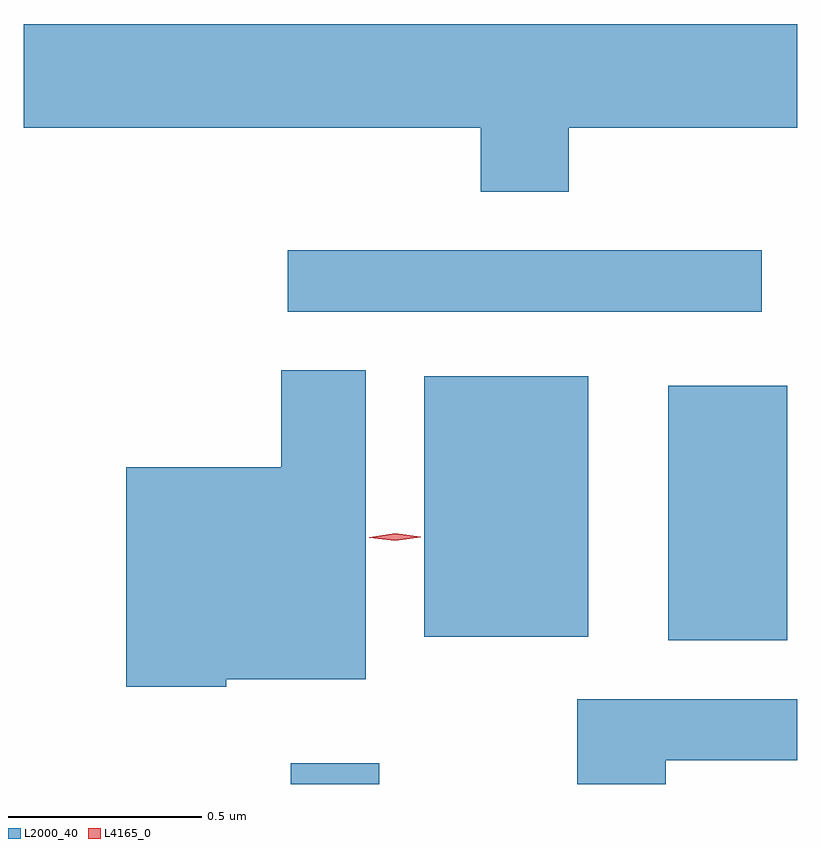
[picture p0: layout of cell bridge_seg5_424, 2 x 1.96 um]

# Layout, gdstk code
import gdstk
lib = gdstk.Library(unit=1e-6, precision=1e-09)
def R(c, l, rs):  # rectangles x0, y0, x1, y1
    for r in rs: c.add(gdstk.rectangle(r[:2], r[2:], *l))
def P(c, l, *ps):  # polygons
    for p in ps: c.add(gdstk.Polygon(p, *l))
L2000_40 = (2000, 40)
L4165_0 = (4165, 0)

bridge_seg5_424 = lib.new_cell('bridge_seg5_424')
R(bridge_seg5_424, L2000_40, [(466.921,1506.16,467.149,1506.214), (467.896,1506.531,468.204,1507.189), (467.266,1506.541,467.689,1507.214), (466.913,1507.381,468.138,1507.539)])
P(bridge_seg5_424, L2000_40, [(467.639,1507.856),(468.23,1507.856),(468.23,1508.124),(466.23,1508.124),(466.23,1507.856),(467.411,1507.856),(467.411,1507.691),(467.639,1507.691)],
  [(466.754,1506.431),(467.114,1506.431),(467.114,1507.229),(466.896,1507.229),(466.896,1506.979),(466.496,1506.979),(466.496,1506.411),(466.754,1506.411)],
  [(467.889,1506.221),(468.23,1506.221),(468.23,1506.379),(467.661,1506.379),(467.661,1506.16),(467.889,1506.16)])
P(bridge_seg5_424, L4165_0, [(467.19,1506.788),(467.124,1506.796),(467.124,1506.797),(467.124,1506.798),(467.19,1506.808),(467.256,1506.799),(467.256,1506.798),(467.256,1506.798)])

lib.write_gds('bridge_seg5_424.gds')
